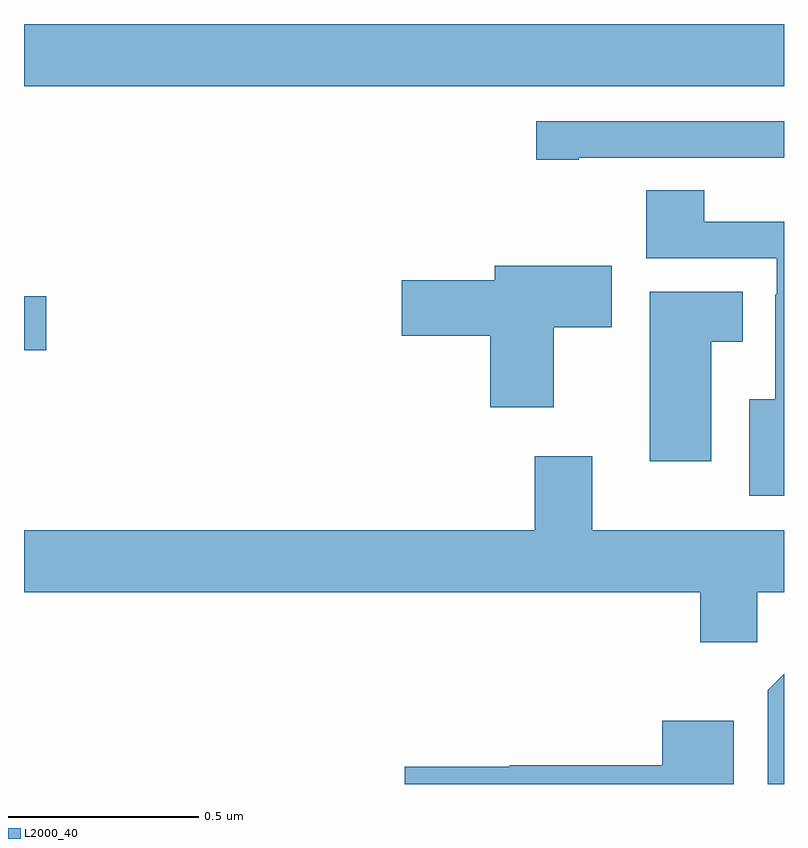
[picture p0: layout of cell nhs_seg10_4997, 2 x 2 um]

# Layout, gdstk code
import gdstk
lib = gdstk.Library(unit=1e-6, precision=1e-09)
def R(c, l, rs):  # rectangles x0, y0, x1, y1
    for r in rs: c.add(gdstk.rectangle(r[:2], r[2:], *l))
def P(c, l, *ps):  # polygons
    for p in ps: c.add(gdstk.Polygon(p, *l))
L2000_40 = (2000, 40)

nhs_seg10_4997 = lib.new_cell('nhs_seg10_4997')
R(nhs_seg10_4997, L2000_40, [(173,1279.642,173.059,1279.784), (173,1280.336,175,1280.5)])
P(nhs_seg10_4997, L2000_40, [(174.46,1280.148),(175,1280.148),(175,1280.244),(174.348,1280.244),(174.348,1280.143),(174.46,1280.143)],
  [(175,1279.98),(174.79,1279.98),(174.79,1280.063),(174.638,1280.063),(174.638,1279.884),(174.981,1279.884),(174.981,1279.787),(174.977,1279.787),(174.977,1279.513),(174.908,1279.513),(174.908,1279.259),(175,1279.259)],
  [(174.394,1279.702),(174.547,1279.702),(174.547,1279.864),(174.239,1279.864),(174.239,1279.826),(173.994,1279.826),(173.994,1279.679),(174.227,1279.679),(174.227,1279.491),(174.394,1279.491)],
  [(174.808,1279.664),(174.892,1279.664),(174.892,1279.795),(174.647,1279.795),(174.647,1279.35),(174.808,1279.35)],
  [(174.93,1279.004),(175,1279.004),(175,1279.168),(174.496,1279.168),(174.496,1279.363),(174.344,1279.363),(174.344,1279.168),(173,1279.168),(173,1279.004),(174.779,1279.004),(174.779,1278.873),(174.93,1278.873)],
  [(175,1278.79),(174.957,1278.747),(174.957,1278.5),(175,1278.5)],
  [(174.868,1278.667),(174.68,1278.667),(174.68,1278.55),(174.278,1278.55),(174.278,1278.546),(174.002,1278.546),(174.002,1278.5),(174.868,1278.5)])

lib.write_gds('nhs_seg10_4997.gds')
